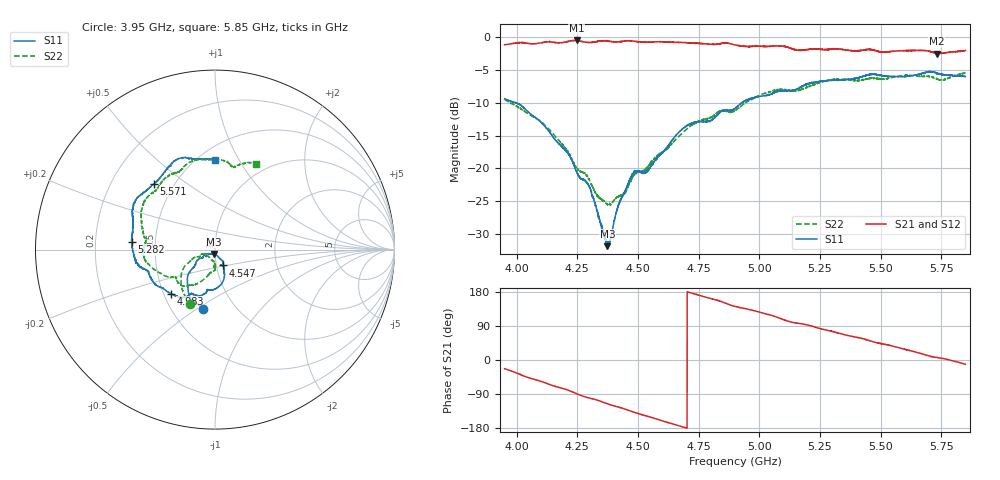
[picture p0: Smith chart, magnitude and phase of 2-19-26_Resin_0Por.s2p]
# GHZ S RI R 50.000000000000
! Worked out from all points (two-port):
!   4501 points, 3.95 GHz to 5.85 GHz, reference 50 ohm
!   highest |S21| = -0.53 dB at 4.247 GHz (marker M1); lowest = -2.5 dB at 5.731 GHz (marker M2)
!   |S21| within 3 dB of the highest: start of sweep to end of sweep
!   lowest |S11| = -31.8 dB at 4.374 GHz (marker M3), VSWR 1.05, Z = 49.2 - j2.41 ohm
!   |S11| at or under -10 dB: 3.994058 GHz to 3.994589 GHz (530.6 kHz wide, 0.0133 % of centre); 3.996 GHz to 4.928 GHz (931.8 MHz wide, 20.9 % of centre); 4.928168 GHz to 4.928384 GHz (216.9 kHz wide, 0.0044 % of centre)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
!   |S22| runs from -25.6 to -5.5 dB; largest |S21 - S12| = 0.041
!   S11 on the Smith chart (normalised r, x): 3.95 GHz: 0.71, -0.53; 4.547 GHz: 1.08, -0.19; 4.983 GHz: 0.55, -0.31; 5.282 GHz: 0.36, +0.04; 5.571 GHz: 0.39, +0.38; 5.85 GHz: 0.60, +0.80
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3.95  -0.0692 -0.3322  0.804 -0.3419  0.7996 -0.3349  -0.1396 -0.3039
4.012067  -0.1306 -0.2776  0.7219 -0.5515  0.7263 -0.541  -0.1816 -0.2225
4.127756  -0.1456 -0.1319  0.4227 -0.8155  0.4249 -0.8095  -0.1752 -0.1032
4.247244  -0.0808 -0.0482  0.0158 -0.9411  0.0258 -0.9424  -0.0918 -0.0398
4.267089  -0.0687 -0.0467  -0.0677 -0.9223  -0.063 -0.9302  -0.0854 -0.0405
4.298756  -0.0646 -0.0345  -0.1629 -0.8932  -0.16 -0.895  -0.0783 -0.0268
4.373911  -0.00766 -0.0245  -0.4016 -0.8384  -0.3842 -0.8471  -0.0403 -0.0346
4.441889  0.0332 -0.0561  -0.5768 -0.7276  -0.5713 -0.7376  -0.00986 -0.0635
4.473133  0.0469 -0.0741  -0.6671 -0.6523  -0.6628 -0.6631  -0.000435 -0.0832
4.547022  0.046 -0.0881  -0.7908 -0.4556  -0.7778 -0.4757  0.000547 -0.1068
4.583756  0.0509 -0.1141  -0.8482 -0.3581  -0.8418 -0.3766  -0.0184 -0.1259
4.746733  -0.0217 -0.226  -0.8852 0.129  -0.8872 0.1144  -0.1156 -0.1964
4.9  -0.1383 -0.2499  -0.6804 0.5421  -0.6955 0.5309  -0.2285 -0.1553
4.982756  -0.2453 -0.2458  -0.5401 0.6584  -0.5486 0.6444  -0.3254 -0.1198
5.099289  -0.3557 -0.1597  -0.2441 0.814  -0.2678 0.816  -0.3989 -0.00766
5.217089  -0.4498 -0.0521  0.0132 0.8098  -0.0113 0.8056  -0.4072 0.1364
5.281689  -0.4642 0.0425  0.164 0.7845  0.1528 0.7929  -0.4054 0.2303
5.446356  -0.4586 0.2334  0.4862 0.6416  0.4613 0.6561  -0.2926 0.3809
5.533756  -0.3714 0.3387  0.5974 0.4887  0.5826 0.508  -0.1854 0.449
5.570911  -0.3392 0.3674  0.6566 0.4289  0.6414 0.451  -0.1522 0.4792
5.731356  -0.1452 0.5073  0.7425 0.091  0.7396 0.1161  0.083 0.4697
5.85  0.00206 0.5002  0.7745 -0.1546  0.7779 -0.1297  0.2284 0.4789
